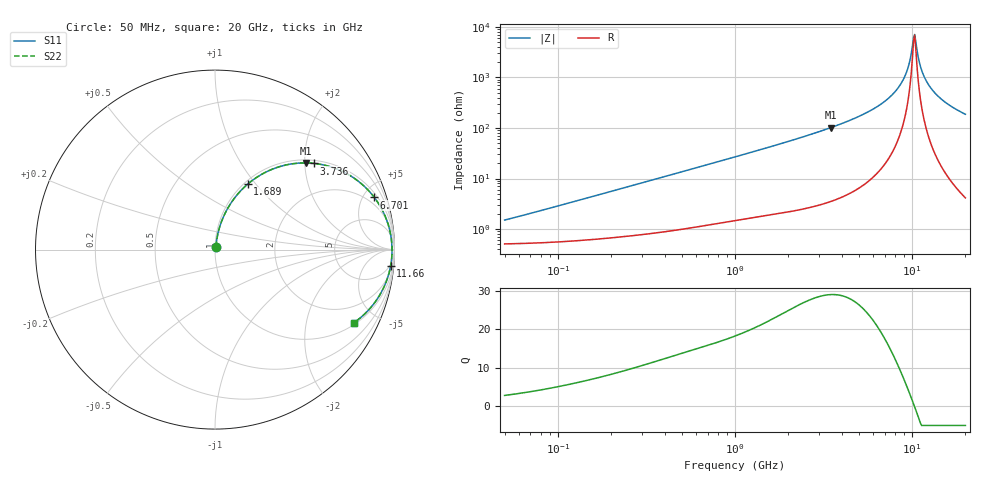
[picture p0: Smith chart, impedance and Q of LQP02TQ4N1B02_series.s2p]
!Murata Part Number: LQP02TQ4N1B02
!These Parameters are Measured in Series Mode Connection
!  o--[Z]--o
!Port1  Port2
!  o-------o
!Freq. Start=50[MHz] Stop=20[GHz], 401[Steps]
# Hz S RI R 50
!Freq.(Hz) S11(Real) S11(Imag) S21(Real) S21(Imag) S12(Real) S12(Imag) S22(Real) S22(Imag)
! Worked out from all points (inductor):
!   401 points, 50 MHz to 20 GHz, reference 50 ohm
!   read as one part in series: L = 4.49 nH near 54.7 MHz
!   highest Q = 29 at 3.467 GHz (marker M1), where L = 4.65 nH
!   self-resonance near 10.19 GHz
!   S11 on the Smith chart (normalised r, x): 50 MHz: 1.01, +0.03; 1.689 GHz: 1.04, +0.91; 3.736 GHz: 1.08, +2.23; 6.701 GHz: 1.31, +5.99; 11.66 GHz: 4, -21; 20 GHz: 1.08, -3.74
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5e7  0.00524 0.014  0.9948 -0.014  0.9948 -0.014  0.00524 0.014
1.364002e8  0.00735 0.0375  0.9927 -0.0375  0.9927 -0.0375  0.00735 0.0375
3.721004e8  0.0184 0.0986  0.9816 -0.0986  0.9816 -0.0986  0.0184 0.0986
1e9  0.0783 0.2426  0.9217 -0.2426  0.9217 -0.2426  0.0783 0.2426
1.689197e9  0.1813 0.3642  0.8187 -0.3642  0.8187 -0.3642  0.1813 0.3642
2.728004e9  0.3717 0.4656  0.6283 -0.4656  0.6283 -0.4656  0.3717 0.4656
3.466789e9  0.5062 0.483  0.4938 -0.483  0.4938 -0.483  0.5062 0.483
3.736399e9  0.5521 0.4803  0.4479 -0.4803  0.4479 -0.4803  0.5521 0.4803
5.194772e9  0.7558 0.4106  0.2442 -0.4106  0.2442 -0.4106  0.7558 0.4106
6.701223e9  0.8876 0.2907  0.1124 -0.2907  0.1124 -0.2907  0.8876 0.2907
7.442007e9  0.9283 0.2273  0.0717 -0.2273  0.0717 -0.2273  0.9283 0.2273
8.264682e9  0.9589 0.1579  0.0411 -0.1579  0.0411 -0.1579  0.9589 0.1579
9.041845e9  0.9763 0.0949  0.0237 -0.0949  0.0237 -0.0949  0.9763 0.0949
9.600142e9  0.9832 0.0518  0.0168 -0.0518  0.0168 -0.0518  0.9832 0.0518
1.004137e10  0.9859 0.0191  0.0141 -0.0191  0.0141 -0.0191  0.9859 0.0191
1.034674e10  0.9864 -0.00278  0.0136 0.00278  0.0136 0.00278  0.9864 -0.00278
1.050288e10  0.9863 -0.0137  0.0137 0.0137  0.0137 0.0137  0.9863 -0.0137
1.115139e10  0.9834 -0.0574  0.0166 0.0574  0.0166 0.0574  0.9834 -0.0574
1.166392e10  0.9787 -0.0899  0.0213 0.0899  0.0213 0.0899  0.9787 -0.0899
1.276073e10  0.9628 -0.1536  0.0372 0.1536  0.0372 0.1536  0.9628 -0.1536
1.417136e10  0.9338 -0.2242  0.0662 0.2242  0.0662 0.2242  0.9338 -0.2242
2e10  0.7722 -0.4085  0.2278 0.4085  0.2278 0.4085  0.7722 -0.4085
